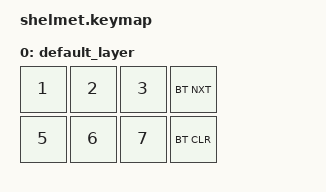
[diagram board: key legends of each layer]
/*
 * Copyright (c) 2020 The ZMK Contributors
 *
 * SPDX-License-Identifier: MIT
 */

#include <behaviors.dtsi>
#include <dt-bindings/zmk/keys.h>
#include <dt-bindings/zmk/bt.h>

/ {
    combos {
        compatible = "zmk,combos";
        combo_run {
            timeout-ms = <500>;
            key-positions = <6 7 8>;
            bindings = <&kp R &kp U &kp N>;
        };
    };
};

/ {
    keymap {
        compatible = "zmk,keymap";

        default_layer {
// -------------------
// | 1      |  2      | 3      |  BT NXT |
// | 5      |  6      | 7      |  BT CLR |
// ----------------------
            bindings = <
    &kp N1 &kp N2 &kp N3 &bt BT_NXT
    &kp N5 &kp N6 &kp N7 &bt BT_CLR
            >;
        };
    };
};

